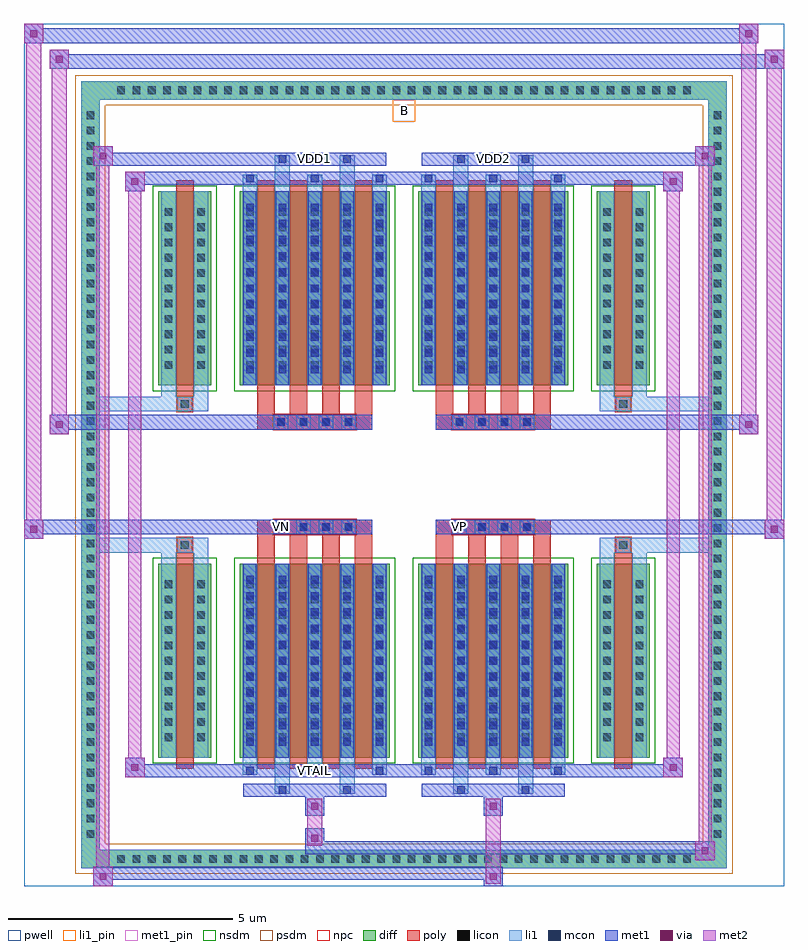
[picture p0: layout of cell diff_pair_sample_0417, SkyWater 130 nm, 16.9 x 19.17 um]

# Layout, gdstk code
import gdstk
lib = gdstk.Library(unit=1e-6, precision=5e-09)
def R(c, l, rs):  # rectangles x0, y0, x1, y1
    for r in rs: c.add(gdstk.rectangle(r[:2], r[2:], *l))
def A(c, l, x, y, w, h, nx, ny, dx, dy):  # array of equal rectangles
    R(c, l, [(x+i*dx, y+j*dy, x+i*dx+w, y+j*dy+h) for i in range(nx) for j in range(ny)])
def P(c, l, *ps):  # polygons
    for p in ps: c.add(gdstk.Polygon(p, *l))
pwell = (64, 44)
diff = (65, 20)
poly = (66, 20)
licon = (66, 44)
li1_pin = (67, 16)
li1 = (67, 20)
mcon = (67, 44)
met1_pin = (68, 16)
met1 = (68, 20)
via = (68, 44)
met2 = (69, 20)
nsdm = (93, 44)
psdm = (94, 20)
npc = (95, 20)

diff_pair_sample_0417 = lib.new_cell('diff_pair_sample_0417')
R(diff_pair_sample_0417, pwell, [(-8.45,-9.15,8.45,10.02), (-5.77,-7.34,-0.01,-0.8), (0.01,-7.34,5.77,-0.8), (-5.77,0.8,-0.01,7.34), (0.01,0.8,5.77,7.34)])
A(diff_pair_sample_0417, diff, -6.495, -8.75, 0.41, 0.41, 38, 2, 0.34, 17.09)
A(diff_pair_sample_0417, diff, -7.18, -8.195, 0.41, 0.41, 1, 48, 0, 0.34)
A(diff_pair_sample_0417, diff, 6.77, -8.195, 0.41, 0.41, 1, 48, 0, 0.34)
R(diff_pair_sample_0417, diff, [(-6.495,-8.75,6.495,-8.34), (-7.18,-8.195,-6.77,8.195), (6.77,-8.195,7.18,8.195), (-5.46,-6.295,-4.29,-1.985), (-3.65,-6.295,-0.32,-1.985), (0.32,-6.295,3.65,-1.985), (4.29,-6.295,5.46,-1.985), (-5.46,1.985,-4.29,6.295), (-3.65,1.985,-0.32,6.295), (0.32,1.985,3.65,6.295), (4.29,1.985,5.46,6.295), (-6.495,8.34,6.495,8.75)])
P(diff_pair_sample_0417, diff, [(7.18,8.75),(-7.18,8.75),(-7.18,-8.34),(-6.77,-8.34),(-6.77,8.34),(6.77,8.34),(6.77,-8.34),(-6.77,-8.34),(-7.18,-8.34),(-7.18,-8.75),(7.18,-8.75)])
A(diff_pair_sample_0417, poly, -3.26, -6.545, 0.39, 4.81, 4, 2, 0.72, 8.28)
A(diff_pair_sample_0417, poly, 0.71, -6.545, 0.39, 4.81, 4, 2, 0.72, 8.28)
A(diff_pair_sample_0417, poly, -3.26, -1.735, 0.39, 0.405, 4, 2, 0.72, 3.065)
A(diff_pair_sample_0417, poly, 0.71, -1.735, 0.39, 0.405, 4, 2, 0.72, 3.065)
A(diff_pair_sample_0417, poly, -2.9, -1.33, 0.33, 0.33, 4, 2, 0.5, 2.33)
A(diff_pair_sample_0417, poly, 1.07, -1.33, 0.33, 0.33, 4, 2, 0.5, 2.33)
R(diff_pair_sample_0417, poly, [(-5.07,-6.545,-4.68,-1.735), (4.68,-6.545,5.07,-1.735), (-5.04,-1.735,-4.71,-1.405), (-5.04,-1.735,-4.71,-1.405), (4.71,-1.735,5.04,-1.405), (4.71,-1.735,5.04,-1.405), (-3.26,-1.33,-0.71,-1), (0.71,-1.33,3.26,-1), (-3.26,1,-0.71,1.33), (0.71,1,3.26,1.33), (-5.04,1.405,-4.71,1.735), (-5.04,1.405,-4.71,1.735), (4.71,1.405,5.04,1.735), (4.71,1.405,5.04,1.735), (-5.07,1.735,-4.68,6.545), (4.68,1.735,5.07,6.545)])
A(diff_pair_sample_0417, licon, -6.375, -8.63, 0.17, 0.17, 38, 2, 0.34, 17.09)
A(diff_pair_sample_0417, licon, -7.06, -8.075, 0.17, 0.17, 1, 48, 0, 0.34)
A(diff_pair_sample_0417, licon, 6.89, -8.075, 0.17, 0.17, 1, 48, 0, 0.34)
A(diff_pair_sample_0417, licon, -5.32, -5.925, 0.17, 0.17, 1, 11, 0, 0.34)
A(diff_pair_sample_0417, licon, -4.6, -5.925, 0.17, 0.17, 1, 11, 0, 0.34)
A(diff_pair_sample_0417, licon, -3.51, -5.925, 0.17, 0.17, 5, 11, 0.72, 0.34)
A(diff_pair_sample_0417, licon, 0.46, -5.925, 0.17, 0.17, 5, 11, 0.72, 0.34)
A(diff_pair_sample_0417, licon, 4.43, -5.925, 0.17, 0.17, 1, 11, 0, 0.34)
A(diff_pair_sample_0417, licon, 5.15, -5.925, 0.17, 0.17, 1, 11, 0, 0.34)
A(diff_pair_sample_0417, licon, -2.82, -1.25, 0.17, 0.17, 4, 2, 0.5, 2.33)
A(diff_pair_sample_0417, licon, 1.15, -1.25, 0.17, 0.17, 4, 2, 0.5, 2.33)
A(diff_pair_sample_0417, licon, -5.32, 2.355, 0.17, 0.17, 1, 11, 0, 0.34)
A(diff_pair_sample_0417, licon, -4.6, 2.355, 0.17, 0.17, 1, 11, 0, 0.34)
A(diff_pair_sample_0417, licon, -3.51, 2.355, 0.17, 0.17, 5, 11, 0.72, 0.34)
A(diff_pair_sample_0417, licon, 0.46, 2.355, 0.17, 0.17, 5, 11, 0.72, 0.34)
A(diff_pair_sample_0417, licon, 4.43, 2.355, 0.17, 0.17, 1, 11, 0, 0.34)
A(diff_pair_sample_0417, licon, 5.15, 2.355, 0.17, 0.17, 1, 11, 0, 0.34)
R(diff_pair_sample_0417, licon, [(-4.96,-1.655,-4.79,-1.485), (4.79,-1.655,4.96,-1.485), (-4.96,1.485,-4.79,1.655), (4.79,1.485,4.96,1.655)])
R(diff_pair_sample_0417, li1_pin, [(-0.25,7.84,0.25,8.34)])
A(diff_pair_sample_0417, li1, -6.455, -8.71, 0.33, 0.33, 38, 2, 0.34, 17.09)
A(diff_pair_sample_0417, li1, -7.14, -8.155, 0.33, 0.33, 1, 48, 0, 0.34)
A(diff_pair_sample_0417, li1, 6.81, -8.155, 0.33, 0.33, 1, 48, 0, 0.34)
A(diff_pair_sample_0417, li1, -3.59, -6.67, 0.33, 0.375, 3, 2, 1.44, 12.965)
A(diff_pair_sample_0417, li1, -3.51, -6.67, 0.17, 0.17, 3, 2, 1.44, 13.17)
A(diff_pair_sample_0417, li1, 0.38, -6.67, 0.33, 0.375, 3, 2, 1.44, 12.965)
A(diff_pair_sample_0417, li1, 0.46, -6.67, 0.17, 0.17, 3, 2, 1.44, 13.17)
A(diff_pair_sample_0417, li1, -3.59, -6.295, 0.33, 4.31, 5, 2, 0.72, 8.28)
A(diff_pair_sample_0417, li1, 0.38, -6.295, 0.33, 4.31, 5, 2, 0.72, 8.28)
A(diff_pair_sample_0417, li1, -3.51, -6.025, 0.17, 0.17, 5, 11, 0.72, 0.36)
A(diff_pair_sample_0417, li1, -3.51, -6.025, 0.17, 3.77, 5, 2, 0.72, 8.28)
A(diff_pair_sample_0417, li1, 0.46, -6.025, 0.17, 0.17, 5, 11, 0.72, 0.36)
A(diff_pair_sample_0417, li1, 0.46, -6.025, 0.17, 3.77, 5, 2, 0.72, 8.28)
A(diff_pair_sample_0417, li1, -5.4, -6.005, 0.33, 0.33, 1, 11, 0, 0.34)
A(diff_pair_sample_0417, li1, -4.68, -6.005, 0.33, 0.33, 1, 11, 0, 0.34)
A(diff_pair_sample_0417, li1, -3.59, -6.005, 0.33, 0.33, 5, 11, 0.72, 0.34)
A(diff_pair_sample_0417, li1, 0.38, -6.005, 0.33, 0.33, 5, 11, 0.72, 0.34)
A(diff_pair_sample_0417, li1, 4.35, -6.005, 0.33, 0.33, 1, 11, 0, 0.34)
A(diff_pair_sample_0417, li1, 5.07, -6.005, 0.33, 0.33, 1, 11, 0, 0.34)
A(diff_pair_sample_0417, li1, -2.9, -1.33, 0.33, 0.33, 4, 2, 0.5, 2.33)
A(diff_pair_sample_0417, li1, 1.07, -1.33, 0.33, 0.33, 4, 2, 0.5, 2.33)
A(diff_pair_sample_0417, li1, -3.51, 2.255, 0.17, 0.17, 5, 11, 0.72, 0.36)
A(diff_pair_sample_0417, li1, 0.46, 2.255, 0.17, 0.17, 5, 11, 0.72, 0.36)
A(diff_pair_sample_0417, li1, -5.4, 2.275, 0.33, 0.33, 1, 11, 0, 0.34)
A(diff_pair_sample_0417, li1, -4.68, 2.275, 0.33, 0.33, 1, 11, 0, 0.34)
A(diff_pair_sample_0417, li1, -3.59, 2.275, 0.33, 0.33, 5, 11, 0.72, 0.34)
A(diff_pair_sample_0417, li1, 0.38, 2.275, 0.33, 0.33, 5, 11, 0.72, 0.34)
A(diff_pair_sample_0417, li1, 4.35, 2.275, 0.33, 0.33, 1, 11, 0, 0.34)
A(diff_pair_sample_0417, li1, 5.07, 2.275, 0.33, 0.33, 1, 11, 0, 0.34)
R(diff_pair_sample_0417, li1, [(-7.18,-8.75,-6.77,-8.34), (-7.18,-8.75,-6.77,-8.34), (-6.77,-8.75,6.77,-8.34), (6.77,-8.75,7.18,-8.34), (6.77,-8.75,7.18,-8.34), (-7.18,-8.34,-6.77,8.34), (6.77,-8.34,7.18,8.34), (-2.87,-7.1,-2.54,-6.295), (-2.79,-7.1,-2.62,-6.93), (-1.43,-7.1,-1.1,-6.295), (-1.35,-7.1,-1.18,-6.93), (1.1,-7.1,1.43,-6.295), (1.18,-7.1,1.35,-6.93), (2.54,-7.1,2.87,-6.295), (2.62,-7.1,2.79,-6.93), (-5.4,-6.295,-5.07,-1.985), (-4.68,-6.295,-4.35,-1.985), (4.35,-6.295,4.68,-1.985), (5.07,-6.295,5.4,-1.985), (-5.4,-1.985,-5.07,-1.405), (-4.68,-1.985,-4.35,-1.405), (4.35,-1.985,4.68,-1.405), (5.07,-1.985,5.4,-1.405), (-7.18,-1.735,-5.04,-1.405), (-5.4,-1.735,-5.04,-1.405), (-5.04,-1.735,-4.71,-1.405), (-4.71,-1.735,-4.35,-1.405), (4.35,-1.735,4.71,-1.405), (4.71,-1.735,5.04,-1.405), (4.71,-1.735,7.18,-1.405), (5.04,-1.735,5.4,-1.405), (-7.18,1.405,-5.04,1.735), (-5.4,1.405,-5.04,1.735), (-5.4,1.405,-5.07,1.985), (-5.04,1.405,-4.71,1.735), (-4.71,1.405,-4.35,1.735), (-4.68,1.405,-4.35,1.985), (4.35,1.405,4.71,1.735), (4.35,1.405,4.68,1.985), (4.71,1.405,5.04,1.735), (4.71,1.405,7.18,1.735), (5.04,1.405,5.4,1.735), (5.07,1.405,5.4,1.985), (-5.4,1.985,-5.07,6.295), (-4.68,1.985,-4.35,6.295), (4.35,1.985,4.68,6.295), (5.07,1.985,5.4,6.295), (-2.87,6.295,-2.54,7.1), (-1.43,6.295,-1.1,7.1), (1.1,6.295,1.43,7.1), (2.54,6.295,2.87,7.1), (-2.79,6.93,-2.62,7.1), (-1.35,6.93,-1.18,7.1), (1.18,6.93,1.35,7.1), (2.62,6.93,2.79,7.1), (-7.18,8.34,-6.77,8.75), (-7.18,8.34,-6.77,8.75), (-6.77,8.34,6.77,8.75), (6.77,8.34,7.18,8.75), (6.77,8.34,7.18,8.75)])
A(diff_pair_sample_0417, mcon, -3.51, -6.67, 0.17, 0.17, 3, 2, 1.44, 13.17)
A(diff_pair_sample_0417, mcon, 0.46, -6.67, 0.17, 0.17, 3, 2, 1.44, 13.17)
A(diff_pair_sample_0417, mcon, -3.51, -6.025, 0.17, 0.17, 5, 11, 0.72, 0.36)
A(diff_pair_sample_0417, mcon, 0.46, -6.025, 0.17, 0.17, 5, 11, 0.72, 0.36)
A(diff_pair_sample_0417, mcon, -2.82, -1.25, 0.17, 0.17, 4, 2, 0.5, 2.33)
A(diff_pair_sample_0417, mcon, 1.15, -1.25, 0.17, 0.17, 4, 2, 0.5, 2.33)
A(diff_pair_sample_0417, mcon, -3.51, 2.255, 0.17, 0.17, 5, 11, 0.72, 0.36)
A(diff_pair_sample_0417, mcon, 0.46, 2.255, 0.17, 0.17, 5, 11, 0.72, 0.36)
R(diff_pair_sample_0417, mcon, [(-2.79,-7.1,-2.62,-6.93), (-1.35,-7.1,-1.18,-6.93), (1.18,-7.1,1.35,-6.93), (2.62,-7.1,2.79,-6.93), (-2.79,6.93,-2.62,7.1), (-1.35,6.93,-1.18,7.1), (1.18,6.93,1.35,7.1), (2.62,6.93,2.79,7.1)])
R(diff_pair_sample_0417, met1_pin, [(-2.12,-6.71,-1.85,-6.44), (-2.87,-1.29,-2.6,-1.02), (1.1,-1.29,1.37,-1.02), (-2.12,6.89,-1.85,7.16), (1.85,6.89,2.12,7.16)])
A(diff_pair_sample_0417, met1, -3.57, -6.73, 0.29, 0.29, 3, 2, 1.44, 13.17)
A(diff_pair_sample_0417, met1, 0.4, -6.73, 0.29, 0.29, 3, 2, 1.44, 13.17)
A(diff_pair_sample_0417, met1, -3.57, -6.295, 0.29, 4.31, 5, 2, 0.72, 8.28)
A(diff_pair_sample_0417, met1, 0.4, -6.295, 0.29, 4.31, 5, 2, 0.72, 8.28)
A(diff_pair_sample_0417, met1, -3.57, -6.085, 0.29, 0.29, 5, 11, 0.72, 0.36)
A(diff_pair_sample_0417, met1, 0.4, -6.085, 0.29, 0.29, 5, 11, 0.72, 0.36)
A(diff_pair_sample_0417, met1, -2.88, -1.31, 0.29, 0.29, 4, 2, 0.5, 2.33)
A(diff_pair_sample_0417, met1, 1.09, -1.31, 0.29, 0.29, 4, 2, 0.5, 2.33)
A(diff_pair_sample_0417, met1, -3.57, 2.195, 0.29, 0.29, 5, 11, 0.72, 0.36)
A(diff_pair_sample_0417, met1, 0.4, 2.195, 0.29, 0.29, 5, 11, 0.72, 0.36)
R(diff_pair_sample_0417, met1, [(-6.91,-9.15,-6.48,-8.72), (1.77,-9.15,2.2,-8.72), (-6.91,-9.01,2.2,-8.72), (6.48,-8.58,6.91,-8.15), (-2.2,-8.44,6.91,-8.15), (-2.2,-8.3,-1.77,-7.87), (-2.2,-7.59,-1.77,-7.16), (1.77,-7.59,2.2,-7.16), (-3.57,-7.16,-0.4,-6.87), (-2.85,-7.16,-2.56,-6.87), (-1.41,-7.16,-1.12,-6.87), (0.4,-7.16,3.57,-6.87), (1.12,-7.16,1.41,-6.87), (2.56,-7.16,2.85,-6.87), (-6.2,-6.73,-5.77,-6.3), (-6.2,-6.73,-3.57,-6.44), (-3.57,-6.73,-0.4,-6.44), (-0.4,-6.73,0.4,-6.44), (0.4,-6.73,3.57,-6.44), (3.57,-6.73,6.2,-6.44), (5.77,-6.73,6.2,-6.3), (-8.45,-1.43,-8.02,-1), (8.02,-1.43,8.45,-1), (-8.45,-1.33,-0.71,-1), (-3.26,-1.33,-0.71,-1), (0.71,-1.33,3.26,-1), (0.71,-1.33,8.45,-1), (-7.88,0.9,-7.45,1.33), (7.45,0.9,7.88,1.33), (-7.88,1,-3.26,1.33), (-3.26,1,-0.71,1.33), (0.71,1,3.26,1.33), (3.26,1,7.88,1.33), (-6.2,6.3,-5.77,6.73), (5.77,6.3,6.2,6.73), (-6.2,6.44,-3.57,6.73), (-3.57,6.44,-0.4,6.73), (-0.4,6.44,0.4,6.73), (0.4,6.44,3.57,6.73), (3.57,6.44,6.2,6.73), (-6.91,6.87,-6.48,7.3), (-6.91,6.87,-3.57,7.16), (-3.57,6.87,-0.4,7.16), (-2.85,6.87,-2.56,7.16), (-1.41,6.87,-1.12,7.16), (0.4,6.87,3.57,7.16), (1.12,6.87,1.41,7.16), (2.56,6.87,2.85,7.16), (3.57,6.87,6.91,7.16), (6.48,6.87,6.91,7.3), (-7.88,9.02,-7.45,9.45), (-7.88,9.02,-5.77,9.35), (-5.77,9.02,5.77,9.35), (5.77,9.02,8.45,9.35), (8.02,9.02,8.45,9.45), (-8.45,9.59,-8.02,10.02), (-8.45,9.59,-5.77,9.92), (-5.77,9.59,5.77,9.92), (5.77,9.59,7.88,9.92), (7.45,9.59,7.88,10.02)])
R(diff_pair_sample_0417, via, [(-6.77,-9.01,-6.62,-8.86), (1.91,-9.01,2.06,-8.86), (6.62,-8.44,6.77,-8.29), (-2.06,-8.16,-1.91,-8.01), (-2.06,-7.45,-1.91,-7.3), (1.91,-7.45,2.06,-7.3), (-6.06,-6.59,-5.91,-6.44), (5.91,-6.59,6.06,-6.44), (-8.31,-1.29,-8.16,-1.14), (8.16,-1.29,8.31,-1.14), (-7.74,1.04,-7.59,1.19), (7.59,1.04,7.74,1.19), (-6.06,6.44,-5.91,6.59), (5.91,6.44,6.06,6.59), (-6.77,7.01,-6.62,7.16), (6.62,7.01,6.77,7.16), (-7.74,9.16,-7.59,9.31), (8.16,9.16,8.31,9.31), (-8.31,9.73,-8.16,9.88), (7.59,9.73,7.74,9.88)])
R(diff_pair_sample_0417, met2, [(-6.91,-9.15,-6.48,-8.72), (-6.84,-9.15,-6.55,7.3), (-6.55,-9.15,-6.48,-8.72), (-6.86,-9.1,-6.53,-8.77), (1.82,-9.1,2.15,-8.77), (1.82,-8.77,2.15,-7.54), (6.48,-8.58,6.91,-8.15), (6.55,-8.58,6.84,7.3), (6.84,-8.58,6.91,-8.15), (6.53,-8.53,6.86,-8.2), (-2.15,-8.25,-1.82,-7.92), (-2.15,-7.92,-1.82,-7.54), (-2.15,-7.54,-1.82,-7.21), (1.82,-7.54,2.15,-7.21), (-6.2,-6.73,-5.77,-6.3), (-6.13,-6.73,-5.84,6.73), (-5.84,-6.73,-5.77,-6.3), (5.77,-6.73,6.2,-6.3), (5.84,-6.73,6.13,6.73), (6.13,-6.73,6.2,-6.3), (-6.15,-6.68,-5.82,-6.35), (5.82,-6.68,6.15,-6.35), (-8.45,-1.43,-8.02,-1), (-8.4,-1.43,-8.07,10.02), (-8.07,-1.43,-8.02,-1), (8.02,-1.43,8.45,-1), (8.07,-1.43,8.4,9.45), (8.4,-1.43,8.45,-1), (-8.4,-1.38,-8.07,-1.05), (8.07,-1.38,8.4,-1.05), (-7.88,0.9,-7.45,1.33), (-7.83,0.9,-7.5,9.45), (-7.5,0.9,-7.45,1.33), (7.45,0.9,7.88,1.33), (7.5,0.9,7.83,10.02), (7.83,0.9,7.88,1.33), (-7.83,0.95,-7.5,1.28), (7.5,0.95,7.83,1.28), (-6.2,6.3,-5.77,6.73), (-5.84,6.3,-5.77,6.73), (5.77,6.3,6.2,6.73), (6.13,6.3,6.2,6.73), (-6.15,6.35,-5.82,6.68), (5.82,6.35,6.15,6.68), (-6.91,6.87,-6.48,7.3), (-6.55,6.87,-6.48,7.3), (6.48,6.87,6.91,7.3), (6.84,6.87,6.91,7.3), (-6.86,6.92,-6.53,7.25), (6.53,6.92,6.86,7.25), (-7.88,9.02,-7.45,9.45), (-7.5,9.02,-7.45,9.45), (8.02,9.02,8.45,9.45), (8.4,9.02,8.45,9.45), (-7.83,9.07,-7.5,9.4), (8.07,9.07,8.4,9.4), (-8.45,9.59,-8.02,10.02), (-8.07,9.59,-8.02,10.02), (7.45,9.59,7.88,10.02), (7.83,9.59,7.88,10.02), (-8.4,9.64,-8.07,9.97), (7.5,9.64,7.83,9.97)])
R(diff_pair_sample_0417, nsdm, [(-5.59,-6.425,-4.16,-1.855), (-3.78,-6.425,-0.19,-1.855), (0.19,-6.425,3.78,-1.855), (4.16,-6.425,5.59,-1.855), (-5.59,1.855,-4.16,6.425), (-3.78,1.855,-0.19,6.425), (0.19,1.855,3.78,6.425), (4.16,1.855,5.59,6.425)])
P(diff_pair_sample_0417, psdm, [(7.31,8.88),(-7.31,8.88),(-7.31,-8.21),(-6.64,-8.21),(-6.64,8.21),(6.64,8.21),(6.64,-8.21),(-6.64,-8.21),(-7.31,-8.21),(-7.31,-8.88),(7.31,-8.88)])
A(diff_pair_sample_0417, npc, -2.92, -1.35, 0.37, 0.37, 4, 2, 0.5, 2.33)
A(diff_pair_sample_0417, npc, 1.05, -1.35, 0.37, 0.37, 4, 2, 0.5, 2.33)
R(diff_pair_sample_0417, npc, [(-5.06,-1.755,-4.69,-1.385), (4.69,-1.755,5.06,-1.385), (-2.92,-1.35,-2.05,-0.98), (-2.92,-1.35,-2.05,-0.98), (-2.42,-1.35,-1.55,-0.98), (-2.42,-1.35,-1.55,-0.98), (-1.92,-1.35,-1.05,-0.98), (-1.92,-1.35,-1.05,-0.98), (1.05,-1.35,1.92,-0.98), (1.05,-1.35,1.92,-0.98), (1.55,-1.35,2.42,-0.98), (1.55,-1.35,2.42,-0.98), (2.05,-1.35,2.92,-0.98), (2.05,-1.35,2.92,-0.98), (-2.92,0.98,-2.05,1.35), (-2.92,0.98,-2.05,1.35), (-2.42,0.98,-1.55,1.35), (-2.42,0.98,-1.55,1.35), (-1.92,0.98,-1.05,1.35), (-1.92,0.98,-1.05,1.35), (1.05,0.98,1.92,1.35), (1.05,0.98,1.92,1.35), (1.55,0.98,2.42,1.35), (1.55,0.98,2.42,1.35), (2.05,0.98,2.92,1.35), (2.05,0.98,2.92,1.35), (-5.06,1.385,-4.69,1.755), (4.69,1.385,5.06,1.755)])
diff_pair_sample_0417.add(gdstk.Label('VTAIL', (-1.985,-6.575), layer=68, texttype=5))
diff_pair_sample_0417.add(gdstk.Label('VN', (-2.735,-1.155), layer=68, texttype=5))
diff_pair_sample_0417.add(gdstk.Label('VP', (1.235,-1.155), layer=68, texttype=5))
diff_pair_sample_0417.add(gdstk.Label('B', (0,8.09), layer=67, texttype=5))
diff_pair_sample_0417.add(gdstk.Label('VDD2', (1.985,7.025), layer=68, texttype=5))
diff_pair_sample_0417.add(gdstk.Label('VDD1', (-1.985,7.025), layer=68, texttype=5))

lib.write_gds('diff_pair_sample_0417.gds')
